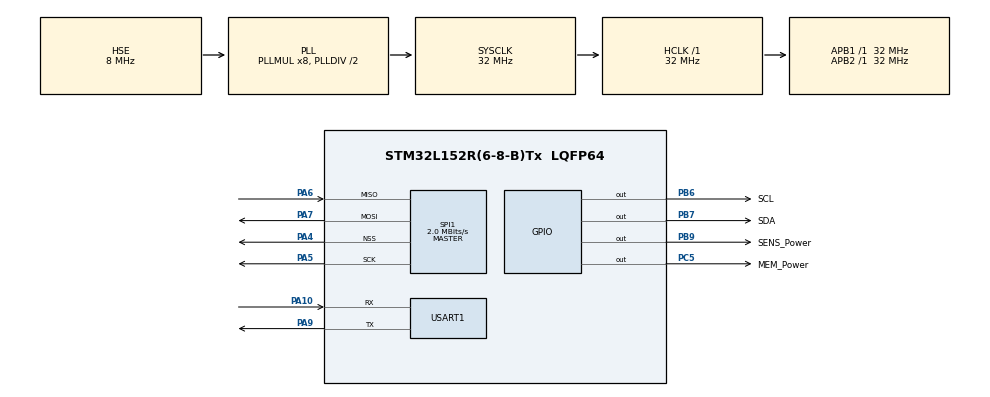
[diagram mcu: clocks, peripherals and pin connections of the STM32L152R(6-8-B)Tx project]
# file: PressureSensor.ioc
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Mcu.Family=STM32L1
Mcu.Name=STM32L152R(6-8-B)Tx
Mcu.Package=LQFP64
NVIC.PriorityGroup=NVIC_PRIORITYGROUP_4
PA10.Mode=Asynchronous
PA10.Signal=USART1_RX
PA13.Mode=Serial_Wire
PA13.Signal=SYS_JTMS-SWDIO
PA14.Mode=Serial_Wire
PA14.Signal=SYS_JTCK-SWCLK
PA4.Mode=NSS_Signal_Hard_Output
PA4.Signal=SPI1_NSS
PA5.Mode=Full_Duplex_Master
PA5.Signal=SPI1_SCK
PA6.Mode=Full_Duplex_Master
PA6.Signal=SPI1_MISO
PA7.Mode=Full_Duplex_Master
PA7.Signal=SPI1_MOSI
PA9.Mode=Asynchronous
PA9.Signal=USART1_TX
PB6.GPIO_Label=SCL
PB6.GPIO_ModeDefaultOutputPP=GPIO_MODE_OUTPUT_OD
PB6.GPIO_PuPd=GPIO_PULLUP
PB6.GPIO_Speed=GPIO_SPEED_FREQ_VERY_HIGH
PB6.PinState=GPIO_PIN_SET
PB6.Signal=GPIO_Output
PB7.GPIO_Label=SDA
PB7.GPIO_ModeDefaultOutputPP=GPIO_MODE_OUTPUT_OD
PB7.GPIO_PuPd=GPIO_PULLUP
PB7.GPIO_Speed=GPIO_SPEED_FREQ_VERY_HIGH
PB7.PinState=GPIO_PIN_SET
PB7.Signal=GPIO_Output
PB9.GPIO_Label=SENS_Power
PB9.Signal=GPIO_Output
PC14-OSC32_IN.Mode=LSE-External-Oscillator
PC14-OSC32_IN.Signal=RCC_OSC32_IN
PC15-OSC32_OUT.Mode=LSE-External-Oscillator
PC15-OSC32_OUT.Signal=RCC_OSC32_OUT
PC5.GPIO_Label=MEM_Power
PC5.Signal=GPIO_Output
PH0-OSC_IN.Mode=HSE-External-Oscillator
PH0-OSC_IN.Signal=RCC_OSC_IN
PH1-OSC_OUT.Mode=HSE-External-Oscillator
PH1-OSC_OUT.Signal=RCC_OSC_OUT
ProjectManager.HeapSize=0x200
ProjectManager.StackSize=0x400
ProjectManager.TargetToolchain=TrueSTUDIO
RCC.48MHZClocksFreq_Value=32000000
RCC.AHBFreq_Value=32000000
RCC.APB1Freq_Value=32000000
RCC.APB1TimFreq_Value=32000000
RCC.APB2Freq_Value=32000000
RCC.APB2TimFreq_Value=32000000
RCC.HCLKFreq_Value=32000000
RCC.HSE_VALUE=8000000
RCC.HSI_VALUE=16000000
RCC.MSI_VALUE=2097000
RCC.PLLMUL=RCC_PLL_MUL8
RCC.PLLSourceVirtual=RCC_PLLSOURCE_HSE
RCC.RTCClockSelection=RCC_RTCCLKSOURCE_LSE
RCC.RTCClockSelectionVirtual=RCC_RTCCLKSOURCE_LSE
RCC.SYSCLKFreq_VALUE=32000000
RCC.SYSCLKSource=RCC_SYSCLKSOURCE_PLLCLK
RCC.VCOOutputFreq_Value=64000000
SPI1.BaudRatePrescaler=SPI_BAUDRATEPRESCALER_16
SPI1.CalculateBaudRate=2.0 MBits/s
SPI1.Direction=SPI_DIRECTION_2LINES
SPI1.Mode=SPI_MODE_MASTER
SPI1.VirtualNSS=VM_NSSHARD
SPI1.VirtualType=VM_MASTER
USART1.VirtualMode=VM_ASYNC
VP_RTC_VS_RTC_Activate.Mode=RTC_Enabled
VP_RTC_VS_RTC_Calendar.Mode=RTC_Calendar
board=PressureSensor

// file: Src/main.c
/**
  ******************************************************************************
  * File Name          : main.c
  * Description        : Main program body
  ******************************************************************************
  ** This notice applies to any and all portions of this file
  * that are not between comment pairs USER CODE BEGIN and
  * USER CODE END. Other portions of this file, whether
  * inserted by the user or by software development tools
  * are owned by their respective copyright owners.
  *
  * COPYRIGHT(c) 2017 STMicroelectronics
  *
  * Redistribution and use in source and binary forms, with or without modification,
  * are permitted provided that the following conditions are met:
  *   1. Redistributions of source code must retain the above copyright notice,
  *      this list of conditions and the following disclaimer.
  *   2. Redistributions in binary form must reproduce the above copyright notice,
  *      this list of conditions and the following disclaimer in the documentation
  *      and/or other materials provided with the distribution.
  *   3. Neither the name of STMicroelectronics nor the names of its contributors
  *      may be used to endorse or promote products derived from this software
  *      without specific prior written permission.
  *
  * THIS SOFTWARE IS PROVIDED BY THE COPYRIGHT HOLDERS AND CONTRIBUTORS "AS IS"
  * AND ANY EXPRESS OR IMPLIED WARRANTIES, INCLUDING, BUT NOT LIMITED TO, THE
  * IMPLIED WARRANTIES OF MERCHANTABILITY AND FITNESS FOR A PARTICULAR PURPOSE ARE
  * DISCLAIMED. IN NO EVENT SHALL THE COPYRIGHT HOLDER OR CONTRIBUTORS BE LIABLE
  * FOR ANY DIRECT, INDIRECT, INCIDENTAL, SPECIAL, EXEMPLARY, OR CONSEQUENTIAL
  * DAMAGES (INCLUDING, BUT NOT LIMITED TO, PROCUREMENT OF SUBSTITUTE GOODS OR
  * SERVICES; LOSS OF USE, DATA, OR PROFITS; OR BUSINESS INTERRUPTION) HOWEVER
  * CAUSED AND ON ANY THEORY OF LIABILITY, WHETHER IN CONTRACT, STRICT LIABILITY,
  * OR TORT (INCLUDING NEGLIGENCE OR OTHERWISE) ARISING IN ANY WAY OUT OF THE USE
  * OF THIS SOFTWARE, EVEN IF ADVISED OF THE POSSIBILITY OF SUCH DAMAGE.
  *
  ******************************************************************************
  */

#include "main.h"
#include "stm32l1xx_hal.h"

/* USER CODE BEGIN Includes */
#include "DPS310.h"
#include "DWT_Delay.h"
/* USER CODE END Includes */

RTC_HandleTypeDef hrtc;

SPI_HandleTypeDef hspi1;

UART_HandleTypeDef huart1;

/* USER CODE BEGIN PV */
/* Private variables ---------------------------------------------------------*/

/* USER CODE END PV */

void SystemClock_Config(void);
static void MX_GPIO_Init(void);
static void MX_RTC_Init(void);
static void MX_SPI1_Init(void);
static void MX_USART1_UART_Init(void);

/* USER CODE BEGIN PFP */
/* Private function prototypes -----------------------------------------------*/

/* USER CODE END PFP */

/* USER CODE BEGIN 0 */
#define PRECISION	7

/* USER CODE END 0 */

int main(void)
{

  /* MCU Configuration----------------------------------------------------------*/

  /* Reset of all peripherals, Initializes the Flash interface and the Systick. */
  HAL_Init();

  /* Configure the system clock */
  SystemClock_Config();

  /* Initialize all configured peripherals */
  MX_GPIO_Init();
  MX_RTC_Init();
  MX_SPI1_Init();
  MX_USART1_UART_Init();

  /* USER CODE BEGIN 2 */
  HAL_GPIO_WritePin(MEM_Power_GPIO_Port, MEM_Power_Pin, SET);
  HAL_GPIO_WritePin(SENS_Power_GPIO_Port, SENS_Power_Pin, SET);
  HAL_Delay(200);

  int coeffs[9]={0,0,0,0,0,0,0,0,0};
  ReadCoeffs(0x77, &coeffs[0]);

  CFG_Measurement(0x77, PRECISION);
  HAL_Delay(100);

  /* USER CODE END 2 */

  /* Infinite loop */
  /* USER CODE BEGIN WHILE */
  int32_t T;
  int32_t P;
  double Pd,Td;
  //double Readings[2]={0.0,0.0};
  while (1)
  {
	  //GetReadings(0x77,&coeffs[0],&Readings[0]);
	  T = GetTemperature(0x77);
	  Td = CalibTemperature(T,&coeffs[0]);
	  P = GetPressure(0x77);
	  Pd = CalibPressure(T,P,&coeffs[0]);

	  HAL_UART_Transmit(&huart1,(uint8_t *)(int)Td, 4, 100);
	  HAL_UART_Transmit(&huart1,(uint8_t *)(int)Pd, 4, 100);
	  //HAL_UART_Transmit(&huart1,(uint8_t *)&Readings[0], 8, 100);
	  HAL_Delay(500);
  /* USER CODE END WHILE */

  }

}

/** System Clock Configuration
*/
void SystemClock_Config(void)
{

  RCC_OscInitTypeDef RCC_OscInitStruct;
  RCC_ClkInitTypeDef RCC_ClkInitStruct;
  RCC_PeriphCLKInitTypeDef PeriphClkInit;

    /**Configure the main internal regulator output voltage
    */
  __HAL_PWR_VOLTAGESCALING_CONFIG(PWR_REGULATOR_VOLTAGE_SCALE1);

    /**Initializes the CPU, AHB and APB busses clocks
    */
  RCC_OscInitStruct.OscillatorType = RCC_OSCILLATORTYPE_HSE|RCC_OSCILLATORTYPE_LSE;
  RCC_OscInitStruct.HSEState = RCC_HSE_ON;
  RCC_OscInitStruct.LSEState = RCC_LSE_ON;
  RCC_OscInitStruct.PLL.PLLState = RCC_PLL_ON;
  RCC_OscInitStruct.PLL.PLLSource = RCC_PLLSOURCE_HSE;
  RCC_OscInitStruct.PLL.PLLMUL = RCC_PLL_MUL8;
  RCC_OscInitStruct.PLL.PLLDIV = RCC_PLL_DIV2;
  if (HAL_RCC_OscConfig(&RCC_OscInitStruct) != HAL_OK)
  {
    _Error_Handler(__FILE__, __LINE__);
  }

    /**Initializes the CPU, AHB and APB busses clocks
    */
  RCC_ClkInitStruct.ClockType = RCC_CLOCKTYPE_HCLK|RCC_CLOCKTYPE_SYSCLK
                              |RCC_CLOCKTYPE_PCLK1|RCC_CLOCKTYPE_PCLK2;
  RCC_ClkInitStruct.SYSCLKSource = RCC_SYSCLKSOURCE_PLLCLK;
  RCC_ClkInitStruct.AHBCLKDivider = RCC_SYSCLK_DIV1;
  RCC_ClkInitStruct.APB1CLKDivider = RCC_HCLK_DIV1;
  RCC_ClkInitStruct.APB2CLKDivider = RCC_HCLK_DIV1;

  if (HAL_RCC_ClockConfig(&RCC_ClkInitStruct, FLASH_LATENCY_1) != HAL_OK)
  {
    _Error_Handler(__FILE__, __LINE__);
  }

  PeriphClkInit.PeriphClockSelection = RCC_PERIPHCLK_RTC;
  PeriphClkInit.RTCClockSelection = RCC_RTCCLKSOURCE_LSE;
  if (HAL_RCCEx_PeriphCLKConfig(&PeriphClkInit) != HAL_OK)
  {
    _Error_Handler(__FILE__, __LINE__);
  }

    /**Configure the Systick interrupt time
    */
  HAL_SYSTICK_Config(HAL_RCC_GetHCLKFreq()/1000);

    /**Configure the Systick
    */
  HAL_SYSTICK_CLKSourceConfig(SYSTICK_CLKSOURCE_HCLK);

  /* SysTick_IRQn interrupt configuration */
  HAL_NVIC_SetPriority(SysTick_IRQn, 0, 0);
}

/* RTC init function */
static void MX_RTC_Init(void)
{

  RTC_TimeTypeDef sTime;
  RTC_DateTypeDef sDate;

    /**Initialize RTC Only
    */
  hrtc.Instance = RTC;
  hrtc.Init.HourFormat = RTC_HOURFORMAT_24;
  hrtc.Init.AsynchPrediv = 127;
  hrtc.Init.SynchPrediv = 255;
  hrtc.Init.OutPut = RTC_OUTPUT_DISABLE;
  hrtc.Init.OutPutPolarity = RTC_OUTPUT_POLARITY_HIGH;
  hrtc.Init.OutPutType = RTC_OUTPUT_TYPE_OPENDRAIN;
  if (HAL_RTC_Init(&hrtc) != HAL_OK)
  {
    _Error_Handler(__FILE__, __LINE__);
  }

    /**Initialize RTC and set the Time and Date
    */
  if(HAL_RTCEx_BKUPRead(&hrtc, RTC_BKP_DR0) != 0x32F2){
  sTime.Hours = 0x0;
  sTime.Minutes = 0x0;
  sTime.Seconds = 0x0;
  sTime.DayLightSaving = RTC_DAYLIGHTSAVING_NONE;
  sTime.StoreOperation = RTC_STOREOPERATION_RESET;
  if (HAL_RTC_SetTime(&hrtc, &sTime, RTC_FORMAT_BCD) != HAL_OK)
  {
    _Error_Handler(__FILE__, __LINE__);
  }

  sDate.WeekDay = RTC_WEEKDAY_MONDAY;
  sDate.Month = RTC_MONTH_JANUARY;
  sDate.Date = 0x1;
  sDate.Year = 0x0;

  if (HAL_RTC_SetDate(&hrtc, &sDate, RTC_FORMAT_BCD) != HAL_OK)
  {
    _Error_Handler(__FILE__, __LINE__);
  }

    HAL_RTCEx_BKUPWrite(&hrtc,RTC_BKP_DR0,0x32F2);
  }

}

/* SPI1 init function */
static void MX_SPI1_Init(void)
{

  /* SPI1 parameter configuration*/
  hspi1.Instance = SPI1;
  hspi1.Init.Mode = SPI_MODE_MASTER;
  hspi1.Init.Direction = SPI_DIRECTION_2LINES;
  hspi1.Init.DataSize = SPI_DATASIZE_8BIT;
  hspi1.Init.CLKPolarity = SPI_POLARITY_LOW;
  hspi1.Init.CLKPhase = SPI_PHASE_1EDGE;
  hspi1.Init.NSS = SPI_NSS_HARD_OUTPUT;
  hspi1.Init.BaudRatePrescaler = SPI_BAUDRATEPRESCALER_16;
  hspi1.Init.FirstBit = SPI_FIRSTBIT_MSB;
  hspi1.Init.TIMode = SPI_TIMODE_DISABLE;
  hspi1.Init.CRCCalculation = SPI_CRCCALCULATION_DISABLE;
  hspi1.Init.CRCPolynomial = 10;
  if (HAL_SPI_Init(&hspi1) != HAL_OK)
  {
    _Error_Handler(__FILE__, __LINE__);
  }

}

/* USART1 init function */
static void MX_USART1_UART_Init(void)
{

  huart1.Instance = USART1;
  huart1.Init.BaudRate = 115200;
  huart1.Init.WordLength = UART_WORDLENGTH_8B;
  huart1.Init.StopBits = UART_STOPBITS_1;
  huart1.Init.Parity = UART_PARITY_NONE;
  huart1.Init.Mode = UART_MODE_TX_RX;
  huart1.Init.HwFlowCtl = UART_HWCONTROL_NONE;
  huart1.Init.OverSampling = UART_OVERSAMPLING_16;
  if (HAL_UART_Init(&huart1) != HAL_OK)
  {
    _Error_Handler(__FILE__, __LINE__);
  }

}

/** Configure pins as
        * Analog
        * Input
        * Output
        * EVENT_OUT
        * EXTI
*/
static void MX_GPIO_Init(void)
{

  GPIO_InitTypeDef GPIO_InitStruct;

  /* GPIO Ports Clock Enable */
  __HAL_RCC_GPIOC_CLK_ENABLE();
  __HAL_RCC_GPIOH_CLK_ENABLE();
  __HAL_RCC_GPIOA_CLK_ENABLE();
  __HAL_RCC_GPIOB_CLK_ENABLE();

  /*Configure GPIO pin Output Level */
  HAL_GPIO_WritePin(MEM_Power_GPIO_Port, MEM_Power_Pin, GPIO_PIN_RESET);

  /*Configure GPIO pin Output Level */
  HAL_GPIO_WritePin(GPIOB, SCL_Pin|SDA_Pin, GPIO_PIN_SET);

  /*Configure GPIO pin Output Level */
  HAL_GPIO_WritePin(SENS_Power_GPIO_Port, SENS_Power_Pin, GPIO_PIN_RESET);

  /*Configure GPIO pin : MEM_Power_Pin */
  GPIO_InitStruct.Pin = MEM_Power_Pin;
  GPIO_InitStruct.Mode = GPIO_MODE_OUTPUT_PP;
  GPIO_InitStruct.Pull = GPIO_NOPULL;
  GPIO_InitStruct.Speed = GPIO_SPEED_FREQ_LOW;
  HAL_GPIO_Init(MEM_Power_GPIO_Port, &GPIO_InitStruct);

  /*Configure GPIO pins : SCL_Pin SDA_Pin */
  GPIO_InitStruct.Pin = SCL_Pin|SDA_Pin;
  GPIO_InitStruct.Mode = GPIO_MODE_OUTPUT_OD;
  GPIO_InitStruct.Pull = GPIO_PULLUP;
  GPIO_InitStruct.Speed = GPIO_SPEED_FREQ_VERY_HIGH;
  HAL_GPIO_Init(GPIOB, &GPIO_InitStruct);

  /*Configure GPIO pin : SENS_Power_Pin */
  GPIO_InitStruct.Pin = SENS_Power_Pin;
  GPIO_InitStruct.Mode = GPIO_MODE_OUTPUT_PP;
  GPIO_InitStruct.Pull = GPIO_NOPULL;
  GPIO_InitStruct.Speed = GPIO_SPEED_FREQ_LOW;
  HAL_GPIO_Init(SENS_Power_GPIO_Port, &GPIO_InitStruct);

}

void _Error_Handler(char * file, int line)
{
  while(1)
  {
  }
}

/************************ (C) COPYRIGHT STMicroelectronics *****END OF FILE****/
